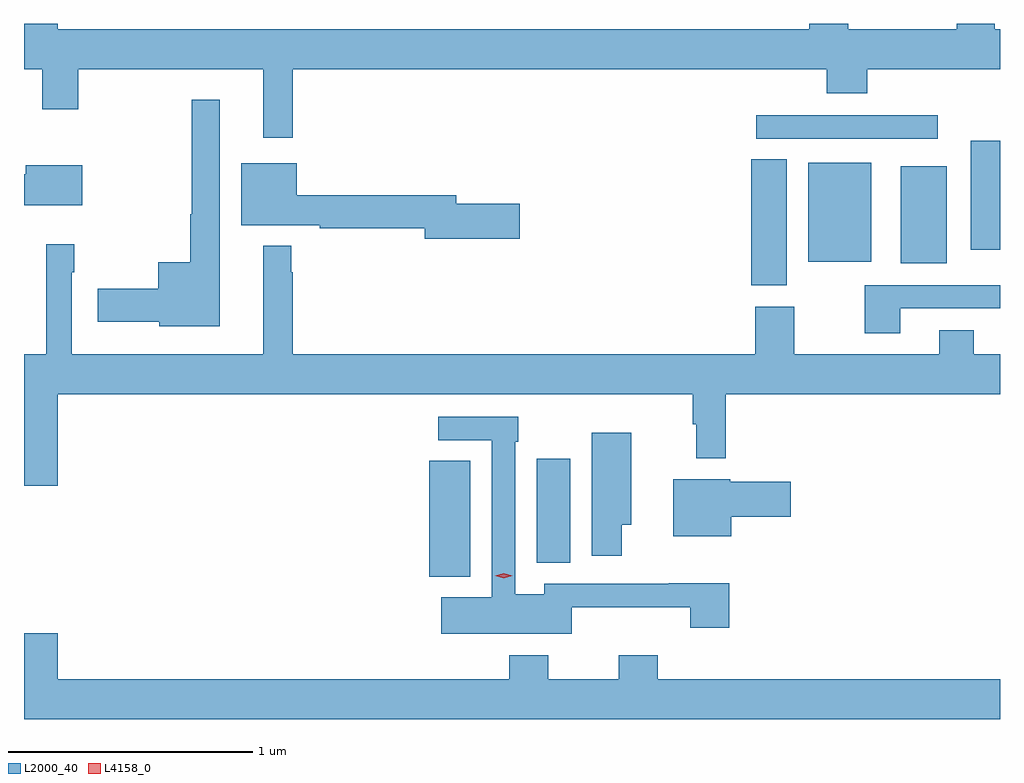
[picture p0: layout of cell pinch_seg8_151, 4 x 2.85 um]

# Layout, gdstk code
import gdstk
lib = gdstk.Library(unit=1e-6, precision=1e-09)
def R(c, l, rs):  # rectangles x0, y0, x1, y1
    for r in rs: c.add(gdstk.rectangle(r[:2], r[2:], *l))
def P(c, l, *ps):  # polygons
    for p in ps: c.add(gdstk.Polygon(p, *l))
L2000_40 = (2000, 40)
L4158_0 = (4158, 0)

pinch_seg8_151 = lib.new_cell('pinch_seg8_151')
R(pinch_seg8_151, L2000_40, [(730.13,1123.745,730.297,1124.219), (730.571,1123.801,730.708,1124.227), (731.45,1124.939,731.596,1125.455), (732.062,1125.029,732.25,1125.427), (731.684,1125.035,731.941,1125.442), (732.35,1125.084,732.469,1125.532), (731.469,1125.54,732.214,1125.636)])
P(pinch_seg8_151, L2000_40, [(732.292,1126.011),(732.292,1125.988),(731.847,1125.988),(731.847,1126.011),(731.687,1126.011),(731.687,1125.988),(728.608,1125.988),(728.608,1126.011),(728.469,1126.011),(728.469,1125.824),(728.543,1125.824),(728.543,1125.66),(728.691,1125.66),(728.691,1125.824),(729.449,1125.824),(729.449,1125.543),(729.571,1125.543),(729.571,1125.824),(731.759,1125.824),(731.759,1125.725),(731.924,1125.725),(731.924,1125.824),(732.469,1125.824),(732.469,1125.988),(732.447,1125.988),(732.447,1126.011)],
  [(729.271,1125.7),(729.157,1125.7),(729.157,1125.23),(729.15,1125.23),(729.15,1125.034),(729.02,1125.034),(729.02,1124.924),(728.772,1124.924),(728.772,1124.789),(729.024,1124.789),(729.024,1124.771),(729.271,1124.771)],
  [(730.501,1125.272),(730.24,1125.272),(730.24,1125.308),(729.586,1125.308),(729.586,1125.439),(729.359,1125.439),(729.359,1125.185),(729.682,1125.185),(729.682,1125.172),(730.112,1125.172),(730.112,1125.13),(730.501,1125.13)],
  [(728.707,1125.43),(728.477,1125.43),(728.477,1125.394),(728.469,1125.394),(728.469,1125.266),(728.707,1125.266)],
  [(728.608,1124.492),(731.209,1124.492),(731.209,1124.369),(731.224,1124.369),(731.224,1124.229),(731.345,1124.229),(731.345,1124.492),(732.469,1124.492),(732.469,1124.656),(732.361,1124.656),(732.361,1124.755),(732.221,1124.755),(732.221,1124.656),(731.625,1124.656),(731.625,1124.851),(731.465,1124.851),(731.465,1124.656),(729.571,1124.656),(729.571,1124.993),(729.564,1124.993),(729.564,1125.1),(729.449,1125.1),(729.449,1124.656),(728.665,1124.656),(728.665,1124.993),(728.675,1124.993),(728.675,1125.106),(728.561,1125.106),(728.561,1124.656),(728.469,1124.656),(728.469,1124.118),(728.608,1124.118)],
  [(732.061,1124.844),(732.469,1124.844),(732.469,1124.94),(731.914,1124.94),(731.914,1124.742),(732.061,1124.742)],
  [(730.714,1123.619),(731.2,1123.619),(731.2,1123.536),(731.36,1123.536),(731.36,1123.718),(731.111,1123.718),(731.111,1123.716),(730.601,1123.716),(730.601,1123.672),(730.482,1123.672),(730.482,1124.297),(730.495,1124.297),(730.495,1124.4),(730.167,1124.4),(730.167,1124.304),(730.386,1124.304),(730.386,1123.66),(730.179,1123.66),(730.179,1123.511),(730.714,1123.511)],
  [(730.918,1123.958),(730.957,1123.958),(730.957,1124.335),(730.796,1124.335),(730.796,1123.83),(730.918,1123.83)],
  [(731.368,1123.991),(731.611,1123.991),(731.611,1124.133),(731.364,1124.133),(731.364,1124.143),(731.129,1124.143),(731.129,1123.91),(731.368,1123.91)],
  [(732.469,1123.324),(731.066,1123.324),(731.066,1123.423),(730.906,1123.423),(730.906,1123.324),(730.617,1123.324),(730.617,1123.423),(730.457,1123.423),(730.457,1123.324),(728.608,1123.324),(728.608,1123.513),(728.469,1123.513),(728.469,1123.16),(732.469,1123.16)])
P(pinch_seg8_151, L4158_0, [(730.435,1123.739),(730.4,1123.749),(730.4,1123.749),(730.4,1123.749),(730.435,1123.759),(730.47,1123.749),(730.47,1123.749),(730.47,1123.749)])

lib.write_gds('pinch_seg8_151.gds')
